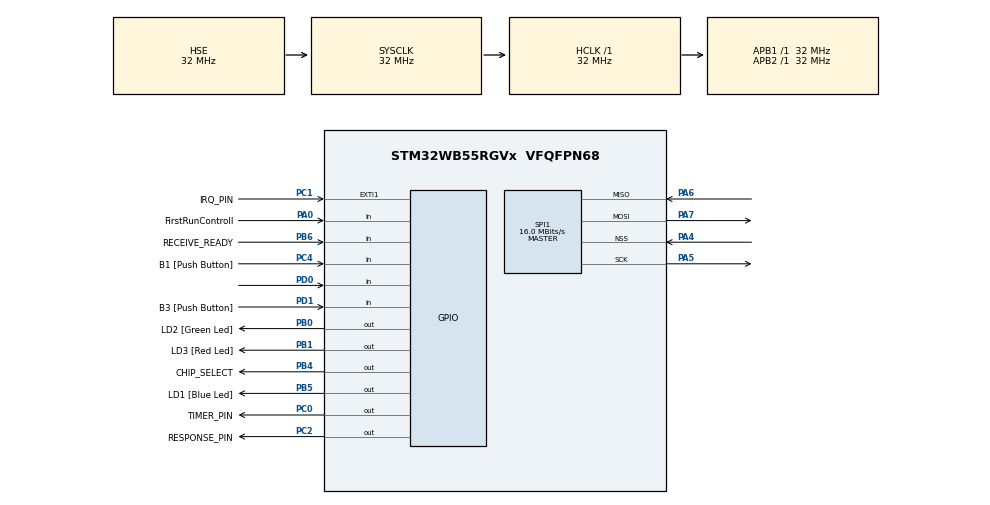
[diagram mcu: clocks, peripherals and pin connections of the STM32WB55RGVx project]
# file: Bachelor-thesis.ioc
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Mcu.Family=STM32WB
Mcu.Name=STM32WB55RGVx
Mcu.Package=VFQFPN68
NVIC.EXTI1_IRQn=true\:0\:0\:false\:false\:true\:true\:true\:true
NVIC.PriorityGroup=NVIC_PRIORITYGROUP_4
NVIC.RTC_WKUP_IRQn=true\:0\:0\:false\:false\:true\:true\:true\:true
OSC_IN.Mode=HSE-External-Oscillator
OSC_IN.Signal=RCC_OSC_IN
OSC_OUT.Mode=HSE-External-Oscillator
OSC_OUT.Signal=RCC_OSC_OUT
PA0.GPIO_Label=FirstRunControll
PA0.Signal=GPIO_Input
PA13.GPIO_Label=JTMS
PA13.Mode=Trace_Asynchronous_SW
PA13.Signal=SYS_JTMS-SWDIO
PA14.GPIO_Label=JTCK
PA14.Mode=Trace_Asynchronous_SW
PA14.Signal=SYS_JTCK-SWCLK
PA4.Mode=NSS_Signal_Hard_Input
PA4.Signal=SPI1_NSS
PA5.Mode=Full_Duplex_Master
PA5.Signal=SPI1_SCK
PA6.Mode=Full_Duplex_Master
PA6.Signal=SPI1_MISO
PA7.Mode=Full_Duplex_Master
PA7.Signal=SPI1_MOSI
PB0.GPIO_Label=LD2 [Green Led]
PB0.Signal=GPIO_Output
PB1.GPIO_Label=LD3 [Red Led]
PB1.Signal=GPIO_Output
PB3.GPIO_Label=JTDO
PB3.Mode=Trace_Asynchronous_SW
PB3.Signal=SYS_JTDO-SWO
PB4.GPIO_Label=CHIP_SELECT
PB4.Signal=GPIO_Output
PB5.GPIO_Label=LD1 [Blue Led]
PB5.Signal=GPIO_Output
PB6.GPIO_Label=RECEIVE_READY
PB6.Signal=GPIO_Input
PC0.GPIO_Label=TIMER_PIN
PC0.GPIO_PuPd=GPIO_PULLDOWN
PC0.Signal=GPIO_Output
PC1.GPIO_Label=IRQ_PIN
PC1.GPIO_ModeDefaultEXTI=GPIO_MODE_IT_RISING
PC1.GPIO_PuPd=GPIO_NOPULL
PC1.Signal=GPXTI1
PC13.Mode=SYS_WakeUp1
PC13.Signal=SYS_WKUP2
PC14-OSC32_IN.Mode=LSE-External-Oscillator
PC14-OSC32_IN.Signal=RCC_OSC32_IN
PC15-OSC32_OUT.Mode=LSE-External-Oscillator
PC15-OSC32_OUT.Signal=RCC_OSC32_OUT
PC2.GPIO_Label=RESPONSE_PIN
PC2.GPIO_PuPd=GPIO_PULLDOWN
PC2.Signal=GPIO_Output
PC4.GPIO_Label=B1 [Push Button]
PC4.Signal=GPIO_Input
PD0.Signal=GPIO_Input
PD1.GPIO_Label=B3 [Push Button]
PD1.Signal=GPIO_Input
ProjectManager.HeapSize=0x200
ProjectManager.StackSize=0x400
ProjectManager.TargetToolchain=STM32CubeIDE
RCC.ADCFreq_Value=48000000
RCC.AHBFreq_Value=32000000
RCC.APB1Freq_Value=32000000
RCC.APB1TimFreq_Value=32000000
RCC.APB2Freq_Value=32000000
RCC.APB2TimFreq_Value=32000000
RCC.APB3Freq_Value=16000000
RCC.CortexFreq_Value=32000000
RCC.HCLKFreq_Value=32000000
RCC.HSE_VALUE=32000000
RCC.HSI48_VALUE=48000000
RCC.HSI_VALUE=16000000
RCC.PLLN=32
RCC.PLLSAI1N=24
RCC.RTCClockSelection=RCC_RTCCLKSOURCE_LSE
RCC.SMPSCLockSelectionVirtual=RCC_SMPSCLKSOURCE_HSI
RCC.SMPSCLockSelectionVirtualVirtual=RCC_SMPSCLKSOURCE_HSI
RCC.SMPSDivider=1
RCC.SYSCLKFreq_VALUE=32000000
RCC.SYSCLKSource=RCC_SYSCLKSOURCE_HSE
RCC.USBFreq_Value=48000000
RCC.VCOOutputFreq_Value=128000000
RTC.WakeUpCounter-WakeUp=0x500B
SPI1.CalculateBaudRate=16.0 MBits/s
SPI1.DataSize=SPI_DATASIZE_8BIT
SPI1.Direction=SPI_DIRECTION_2LINES
SPI1.Mode=SPI_MODE_MASTER
SPI1.VirtualNSS=VM_NSSHARD
SPI1.VirtualType=VM_MASTER
VP_RTC_VS_RTC_Activate.Mode=RTC_Enabled
VP_RTC_VS_RTC_WakeUp_intern.Mode=WakeUp
board=NUCLEO-WB55RG

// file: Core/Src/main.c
/* USER CODE BEGIN Header */
/**
  ******************************************************************************
  * @file           : main.c
  * @brief          : Main program body
  ******************************************************************************
  * @attention
  *
  * Copyright (c) 2023 STMicroelectronics.
  * All rights reserved.
  *
  * This software is licensed under terms that can be found in the LICENSE file
  * in the root directory of this software component.
  * If no LICENSE file comes with this software, it is provided AS-IS.
  *
  ******************************************************************************
  */
/* USER CODE END Header */
#include "main.h"

/* USER CODE BEGIN Includes */
#include <stm32wbxx_hal.h>
#include <string.h>
#include <stdio.h>
#include <stdbool.h>
#include <time.h>
#include <stdlib.h>
#include <math.h>
#include "stm32wbxx_hal_rtc.h"

/* USER CODE END Includes */

/* USER CODE BEGIN PD */
//----------------------------------

#define GREEN_LED GPIO_PIN_0

uint8_t SLEEP_TIME_ADDR =  1;
uint8_t RUN_AMOUNT_ADDR = 2;
uint8_t TEST_MODE_ADDR	= 3;

/* USER CODE END PD */

RTC_HandleTypeDef hrtc;

SPI_HandleTypeDef hspi1;

/* USER CODE BEGIN PV */

int test = 0;
_Bool finished = false;
_Bool runningDeepSleep = true;
_Bool firstRun = true;
uint32_t runAmount = 0;
uint32_t maxRuns = 0;
uint32_t startSignalsSent = 0;
uint32_t stopEntries = 0;
uint32_t mainEntries = 0;

/* USER CODE END PV */

void SystemClock_Config(void);
void PeriphCommonClock_Config(void);
static void MX_GPIO_Init(void);
static void MX_SPI1_Init(void);
static void MX_RTC_Init(void);

/* USER CODE BEGIN 0 */

void load_and_print_data(char *file_name){
	// Open file for reading
	FILE *file = fopen(file_name, "r");

	// Read results from file and store in array
	float results[50];
	uint32_t i = 0;
	char line[20];
	while (fgets(line, 20, file)){
		results[i++] = strtof(line, NULL);
	}

	// Close file and calculate test statistics
	fclose(file);
	uint32_t len = i;
	float sum = 0.0, min = results[0], max = results[0];
	for (i = 0; i < len; i++){
		sum += results[i];
		if (results[i] < i){
			min = results[i];
		}
		if (results[i] > max){
			max = results[i];
		}
	}

	// Print test statistics
    printf("-----------------------TEST STATS-----------------------\n");
    printf("Amount of collected data:       %d\n", len);
    printf("Average response time us:       %f\n", sum / len);
    printf("Fastest response time us:       %f\n", min);
    printf("Slowest response time us:       %f\n", max);
    printf("--------------------------------------------------------\n");
}

void send_start_signal(){
	startSignalsSent++;
	HAL_GPIO_WritePin(TIMER_PIN_GPIO_Port, TIMER_PIN_Pin, GPIO_PIN_SET);
	HAL_GPIO_WritePin(TIMER_PIN_GPIO_Port, TIMER_PIN_Pin, GPIO_PIN_RESET);
}
void send_stop_signal(){
	HAL_GPIO_WritePin(RESPONSE_PIN_GPIO_Port, RESPONSE_PIN_Pin, GPIO_PIN_SET);
	HAL_GPIO_WritePin(RESPONSE_PIN_GPIO_Port, RESPONSE_PIN_Pin, GPIO_PIN_RESET);
}

void lightsleep_test_interval(uint32_t wakeup_interval_ms, uint32_t wakeup_count)
{
    uint32_t run_counter = 0;
    double period = (16.0/32768.0);
    double wakeup_in_ms = (double)wakeup_interval_ms / 1000.0;
    double msMultiplier = (wakeup_in_ms/period);
    uint32_t interval = (uint32_t)round(msMultiplier);

    while (run_counter < wakeup_count)
    {
        send_start_signal();

        // Enter Stop mode
        HAL_SuspendTick();
        // Configure the RTC Wake-up timer
        HAL_RTCEx_SetWakeUpTimer_IT(&hrtc, interval, RTC_WAKEUPCLOCK_RTCCLK_DIV16);
        // HAL_PWREx_EnterSTOP2Mode(PWR_SLEEPENTRY_WFI);
        HAL_PWR_EnterSTOPMode(PWR_MAINREGULATOR_ON, PWR_STOPENTRY_WFI);

        // Disable the RTC Wake-up timer
        HAL_RTCEx_DeactivateWakeUpTimer(&hrtc);
        send_stop_signal();
        SystemClock_Config(); // Reconfigure the system clock after waking up

        // Wake up from Stop mode
        HAL_ResumeTick();

        HAL_Delay(10);

        run_counter++;
    }
}

void lightsleep_test_interrupt(){
	while(runAmount < maxRuns){
        send_start_signal();

        // Enter Stop mode
        HAL_PWR_EnterSTOPMode(PWR_LOWPOWERREGULATOR_ON, PWR_STOPENTRY_WFI);
        //HAL_PWREx_EnterSTOP2Mode(PWR_SLEEPENTRY_WFI);
        //send_stop_signal();
	}
}

void deepsleep_test_interval(uint32_t wakeup_interval, uint32_t wakeup_count){
    uint32_t run_counter = 0;
    double period = (16.0/32768.0);
    double wakeup_in_ms = (double)wakeup_interval / 1000.0;
    double msMultiplier = (wakeup_in_ms/period);
    uint32_t interval = (uint32_t)round(msMultiplier);
    while (run_counter < wakeup_count){
    	__HAL_PWR_CLEAR_FLAG(PWR_FLAG_WU);
    	__HAL_RTC_WAKEUPTIMER_CLEAR_FLAG(&hrtc, RTC_FLAG_WUTF);
    	send_start_signal();
    	if(HAL_RTCEx_SetWakeUpTimer_IT(&hrtc, interval, RTC_WAKEUPCLOCK_RTCCLK_DIV16) != HAL_OK){
    		Error_Handler();
    	}
    	HAL_PWR_EnterSTANDBYMode();
    	//HAL_GPIO_TogglePin(LD1_GPIO_Port, LD1_Pin);
    	send_stop_signal();
    }

}

void deepsleep_test_interrupt(){
	while(runAmount < maxRuns){
        //send_start_signal();
		startSignalsSent++;
		HAL_GPIO_WritePin(TIMER_PIN_GPIO_Port, TIMER_PIN_Pin, GPIO_PIN_SET);
		HAL_GPIO_WritePin(TIMER_PIN_GPIO_Port, TIMER_PIN_Pin, GPIO_PIN_RESET);
        firstRun = false;
        // Enter Stop mode
        HAL_PWR_EnterSTANDBYMode();
	}
}

_Bool send16Bit(uint16_t *send){
	if(HAL_SPI_Transmit(&hspi1, (uint8_t*)send, 2, 10) == HAL_OK){
		return true;
	}
	return false;

}
_Bool recieve16Bit(uint16_t *readInto){
	if(HAL_SPI_Receive(&hspi1, (uint8_t*)readInto, 2, 10) == HAL_OK){
		return true;
	}
	return false;
}
void send_settings_spi(uint16_t sleep_time, uint16_t run_amount, uint16_t run_type){
	HAL_StatusTypeDef sendSleepTimeReady = HAL_SPI_Transmit(&hspi1, &SLEEP_TIME_ADDR, 1, 10);
	if(sendSleepTimeReady == HAL_OK){
		if(!send16Bit(&sleep_time)){
			printf("COULD NOT SEND SLEEP TIME");
		}
	}
	else{
		//
	}
	HAL_StatusTypeDef sendRunAmountReady = HAL_SPI_Transmit(&hspi1, &RUN_AMOUNT_ADDR, 1, 10);
	if(sendRunAmountReady == HAL_OK){
		if(!send16Bit(&run_amount)){
			printf("COULD NOT SEND RUN AMOUNT");
		}
	}
	HAL_StatusTypeDef sendRunTypeReady = HAL_SPI_Transmit(&hspi1, &TEST_MODE_ADDR, 1, 10);
	if(sendRunTypeReady == HAL_OK){
		if(!send16Bit(&run_type)){
			printf("COULD NOT SEND RUN TYPE");
		}
	}

}

uint16_t* receive_data_SPI(uint16_t run_amount){
	uint8_t bytesread[run_amount * 2];
	uint16_t *received_data = malloc(run_amount * sizeof(uint16_t));
	if (received_data == NULL){
		// Handle error
	}

	// Wait for the RECEIVE_READY_Pin to go high before proceeding
	while (HAL_GPIO_ReadPin(RECEIVE_READY_GPIO_Port, RECEIVE_READY_Pin) == GPIO_PIN_RESET)
	{
		// add timeout or yield to other tasks here if necessary
	}

	for (int i = 0; i < run_amount * 2; i += 2){
		HAL_SPI_Receive(&hspi1, &bytesread[i], 2, HAL_MAX_DELAY); // Receive two bytes of data over SPI
	}

	// Process the received data and store it in received_data
	for (int i = 0; i < run_amount; i++){
		uint16_t data = bytesread[i * 2 + 1] << 8 | bytesread[i * 2];
		received_data[i] = data;
	}

	printf("%d\n", run_amount); // Print the number of SPI transfers made
	return received_data;
}

/* USER CODE END 0 */

int main(void)
{

  /* MCU Configuration--------------------------------------------------------*/

  /* Reset of all peripherals, Initializes the Flash interface and the Systick. */

	HAL_Init();

  /* Configure the system clock */
  SystemClock_Config();

/* Configure the peripherals common clocks */
  PeriphCommonClock_Config();

  /* Initialize all configured peripherals */
  MX_GPIO_Init();
  MX_SPI1_Init();
  MX_RTC_Init();
  /* USER CODE BEGIN 2 */

//  HAL_NVIC_SetPriority(TIM2_IRQn, 5, 0);
//  HAL_NVIC_EnableIRQ(TIM2_IRQn);
  if(__HAL_PWR_GET_FLAG(PWR_FLAG_SB) == RESET){
  		  __HAL_PWR_CLEAR_FLAG(PWR_FLAG_SB);
  		  if(runningDeepSleep){
  			  if(HAL_GPIO_ReadPin(FirstRunControll_GPIO_Port, FirstRunControll_Pin) != GPIO_PIN_RESET){
  				 stopEntries++;

  		  //send_stop_signal();
  				  HAL_GPIO_WritePin(RESPONSE_PIN_GPIO_Port, RESPONSE_PIN_Pin, GPIO_PIN_SET);
  				  HAL_GPIO_WritePin(RESPONSE_PIN_GPIO_Port, RESPONSE_PIN_Pin, GPIO_PIN_SET);
  				  //deepsleep_test_interrupt();
  				  HAL_Delay(1);
  				  HAL_GPIO_WritePin(TIMER_PIN_GPIO_Port, TIMER_PIN_Pin, GPIO_PIN_SET);
  				  HAL_GPIO_WritePin(TIMER_PIN_GPIO_Port, TIMER_PIN_Pin, GPIO_PIN_SET);
  				  HAL_PWR_EnterSTANDBYMode();

  				  //HAL_RTCEx_DeactivateWakeUpTimer(&hrtc);
  			  }
  		  }

  		}
  /* USER CODE END 2 */

  /* Infinite loop */
  while (1)
  {

    /* USER CODE BEGIN 3 */

		 while(!finished)
		 {
			 if (HAL_GPIO_ReadPin(FirstRunControll_GPIO_Port, FirstRunControll_Pin) == GPIO_PIN_RESET) {
				 mainEntries++;
				 uint16_t sleeptime = 1000;
				 uint16_t runs = 100;
				 maxRuns = runs;
				 send_settings_spi(sleeptime, runs, 0);
				 HAL_Delay(10);
				 HAL_SuspendTick();
				 //lightsleep_test_interrupt();
				 //deepsleep_test_interrupt();
				 deepsleep_test_interval(sleeptime, runs);
				 //deepsleep_test_interval(sleeptime, runs);
				 //lightsleep_test_interval(sleeptime, runs);
				 uint16_t *data = receive_data_SPI(10);
				 // Free the allocated memory for received_data
				 free(data);
				 finished = true;
			 }
		 }
  }
  /* USER CODE END 3 */
}

void SystemClock_Config(void)
{
  RCC_OscInitTypeDef RCC_OscInitStruct = {0};
  RCC_ClkInitTypeDef RCC_ClkInitStruct = {0};

  /** Configure LSE Drive Capability
  */
  HAL_PWR_EnableBkUpAccess();
  __HAL_RCC_LSEDRIVE_CONFIG(RCC_LSEDRIVE_MEDIUMHIGH);

  /** Configure the main internal regulator output voltage
  */
  __HAL_PWR_VOLTAGESCALING_CONFIG(PWR_REGULATOR_VOLTAGE_SCALE1);

  /** Initializes the RCC Oscillators according to the specified parameters
  * in the RCC_OscInitTypeDef structure.
  */
  RCC_OscInitStruct.OscillatorType = RCC_OSCILLATORTYPE_HSI|RCC_OSCILLATORTYPE_HSE
                              |RCC_OSCILLATORTYPE_LSE;
  RCC_OscInitStruct.HSEState = RCC_HSE_ON;
  RCC_OscInitStruct.LSEState = RCC_LSE_ON;
  RCC_OscInitStruct.HSIState = RCC_HSI_ON;
  RCC_OscInitStruct.HSICalibrationValue = RCC_HSICALIBRATION_DEFAULT;
  RCC_OscInitStruct.PLL.PLLState = RCC_PLL_NONE;
  if (HAL_RCC_OscConfig(&RCC_OscInitStruct) != HAL_OK)
  {
    Error_Handler();
  }

  /** Configure the SYSCLKSource, HCLK, PCLK1 and PCLK2 clocks dividers
  */
  RCC_ClkInitStruct.ClockType = RCC_CLOCKTYPE_HCLK4|RCC_CLOCKTYPE_HCLK2
                              |RCC_CLOCKTYPE_HCLK|RCC_CLOCKTYPE_SYSCLK
                              |RCC_CLOCKTYPE_PCLK1|RCC_CLOCKTYPE_PCLK2;
  RCC_ClkInitStruct.SYSCLKSource = RCC_SYSCLKSOURCE_HSE;
  RCC_ClkInitStruct.AHBCLKDivider = RCC_SYSCLK_DIV1;
  RCC_ClkInitStruct.APB1CLKDivider = RCC_HCLK_DIV1;
  RCC_ClkInitStruct.APB2CLKDivider = RCC_HCLK_DIV1;
  RCC_ClkInitStruct.AHBCLK2Divider = RCC_SYSCLK_DIV1;
  RCC_ClkInitStruct.AHBCLK4Divider = RCC_SYSCLK_DIV1;

  if (HAL_RCC_ClockConfig(&RCC_ClkInitStruct, FLASH_LATENCY_1) != HAL_OK)
  {
    Error_Handler();
  }
}

void PeriphCommonClock_Config(void)
{
  RCC_PeriphCLKInitTypeDef PeriphClkInitStruct = {0};

  /** Initializes the peripherals clock
  */
  PeriphClkInitStruct.PeriphClockSelection = RCC_PERIPHCLK_SMPS;
  PeriphClkInitStruct.SmpsClockSelection = RCC_SMPSCLKSOURCE_HSI;
  PeriphClkInitStruct.SmpsDivSelection = RCC_SMPSCLKDIV_RANGE0;

  if (HAL_RCCEx_PeriphCLKConfig(&PeriphClkInitStruct) != HAL_OK)
  {
    Error_Handler();
  }
}

static void MX_RTC_Init(void)
{

  /** Initialize RTC Only
  */
  hrtc.Instance = RTC;
  hrtc.Init.HourFormat = RTC_HOURFORMAT_24;
  hrtc.Init.AsynchPrediv = 127;
  hrtc.Init.SynchPrediv = 255;
  hrtc.Init.OutPut = RTC_OUTPUT_DISABLE;
  hrtc.Init.OutPutPolarity = RTC_OUTPUT_POLARITY_HIGH;
  hrtc.Init.OutPutType = RTC_OUTPUT_TYPE_OPENDRAIN;
  hrtc.Init.OutPutRemap = RTC_OUTPUT_REMAP_NONE;
  if (HAL_RTC_Init(&hrtc) != HAL_OK)
  {
    Error_Handler();
  }

  /** Enable the WakeUp
  */
  if (HAL_RTCEx_SetWakeUpTimer_IT(&hrtc, 0x500B, RTC_WAKEUPCLOCK_RTCCLK_DIV16) != HAL_OK)
  {
    Error_Handler();
  }

}

static void MX_SPI1_Init(void)
{

  /* SPI1 parameter configuration*/
  hspi1.Instance = SPI1;
  hspi1.Init.Mode = SPI_MODE_MASTER;
  hspi1.Init.Direction = SPI_DIRECTION_2LINES;
  hspi1.Init.DataSize = SPI_DATASIZE_8BIT;
  hspi1.Init.CLKPolarity = SPI_POLARITY_LOW;
  hspi1.Init.CLKPhase = SPI_PHASE_1EDGE;
  hspi1.Init.NSS = SPI_NSS_HARD_INPUT;
  hspi1.Init.BaudRatePrescaler = SPI_BAUDRATEPRESCALER_2;
  hspi1.Init.FirstBit = SPI_FIRSTBIT_MSB;
  hspi1.Init.TIMode = SPI_TIMODE_DISABLE;
  hspi1.Init.CRCCalculation = SPI_CRCCALCULATION_DISABLE;
  hspi1.Init.CRCPolynomial = 7;
  hspi1.Init.CRCLength = SPI_CRC_LENGTH_DATASIZE;
  hspi1.Init.NSSPMode = SPI_NSS_PULSE_ENABLE;
  if (HAL_SPI_Init(&hspi1) != HAL_OK)
  {
    Error_Handler();
  }

}

static void MX_GPIO_Init(void)
{
  GPIO_InitTypeDef GPIO_InitStruct = {0};

  /* GPIO Ports Clock Enable */
  __HAL_RCC_GPIOC_CLK_ENABLE();
  __HAL_RCC_GPIOA_CLK_ENABLE();
  __HAL_RCC_GPIOB_CLK_ENABLE();
  __HAL_RCC_GPIOD_CLK_ENABLE();

  /*Configure GPIO pin Output Level */
  HAL_GPIO_WritePin(GPIOC, TIMER_PIN_Pin|RESPONSE_PIN_Pin, GPIO_PIN_RESET);

  /*Configure GPIO pin Output Level */
  HAL_GPIO_WritePin(GPIOB, LD2_Pin|LD3_Pin|CHIP_SELECT_Pin|LD1_Pin, GPIO_PIN_RESET);

  /*Configure GPIO pins : TIMER_PIN_Pin RESPONSE_PIN_Pin */
  GPIO_InitStruct.Pin = TIMER_PIN_Pin|RESPONSE_PIN_Pin;
  GPIO_InitStruct.Mode = GPIO_MODE_OUTPUT_PP;
  GPIO_InitStruct.Pull = GPIO_PULLDOWN;
  GPIO_InitStruct.Speed = GPIO_SPEED_FREQ_LOW;
  HAL_GPIO_Init(GPIOC, &GPIO_InitStruct);

  /*Configure GPIO pin : IRQ_PIN_Pin */
  GPIO_InitStruct.Pin = IRQ_PIN_Pin;
  GPIO_InitStruct.Mode = GPIO_MODE_IT_RISING;
  GPIO_InitStruct.Pull = GPIO_NOPULL;
  HAL_GPIO_Init(IRQ_PIN_GPIO_Port, &GPIO_InitStruct);

  /*Configure GPIO pin : FirstRunControll_Pin */
  GPIO_InitStruct.Pin = FirstRunControll_Pin;
  GPIO_InitStruct.Mode = GPIO_MODE_INPUT;
  GPIO_InitStruct.Pull = GPIO_NOPULL;
  HAL_GPIO_Init(FirstRunControll_GPIO_Port, &GPIO_InitStruct);

  /*Configure GPIO pin : B1_Pin */
  GPIO_InitStruct.Pin = B1_Pin;
  GPIO_InitStruct.Mode = GPIO_MODE_INPUT;
  GPIO_InitStruct.Pull = GPIO_NOPULL;
  HAL_GPIO_Init(B1_GPIO_Port, &GPIO_InitStruct);

  /*Configure GPIO pins : LD2_Pin LD3_Pin CHIP_SELECT_Pin LD1_Pin */
  GPIO_InitStruct.Pin = LD2_Pin|LD3_Pin|CHIP_SELECT_Pin|LD1_Pin;
  GPIO_InitStruct.Mode = GPIO_MODE_OUTPUT_PP;
  GPIO_InitStruct.Pull = GPIO_NOPULL;
  GPIO_InitStruct.Speed = GPIO_SPEED_FREQ_LOW;
  HAL_GPIO_Init(GPIOB, &GPIO_InitStruct);

  /*Configure GPIO pins : PD0 B3_Pin */
  GPIO_InitStruct.Pin = GPIO_PIN_0|B3_Pin;
  GPIO_InitStruct.Mode = GPIO_MODE_INPUT;
  GPIO_InitStruct.Pull = GPIO_NOPULL;
  HAL_GPIO_Init(GPIOD, &GPIO_InitStruct);

  /*Configure GPIO pin : RECEIVE_READY_Pin */
  GPIO_InitStruct.Pin = RECEIVE_READY_Pin;
  GPIO_InitStruct.Mode = GPIO_MODE_INPUT;
  GPIO_InitStruct.Pull = GPIO_NOPULL;
  HAL_GPIO_Init(RECEIVE_READY_GPIO_Port, &GPIO_InitStruct);

  /* EXTI interrupt init*/
  HAL_NVIC_SetPriority(EXTI1_IRQn, 0, 0);
  HAL_NVIC_EnableIRQ(EXTI1_IRQn);

}

/* USER CODE BEGIN 4 */

void HAL_GPIO_EXTI_Callback(uint16_t GPIO_Pin)
{
  if(GPIO_Pin == IRQ_PIN_Pin) {
	  //HAL_GPIO_TogglePin(LD1_GPIO_Port, LD1_Pin);
	  HAL_GPIO_WritePin(RESPONSE_PIN_GPIO_Port, RESPONSE_PIN_Pin, GPIO_PIN_SET);
	  HAL_GPIO_WritePin(RESPONSE_PIN_GPIO_Port, RESPONSE_PIN_Pin, GPIO_PIN_RESET);
	  runAmount++;
	  // HAL_ResumeTick();
	  // HAL_Delay(10);
	  HAL_PWR_DisableSleepOnExit();
  } else {
      __NOP();
  }
}
/* USER CODE END 4 */

void Error_Handler(void)
{
  __disable_irq();
  while (1)
  {
  }
}
